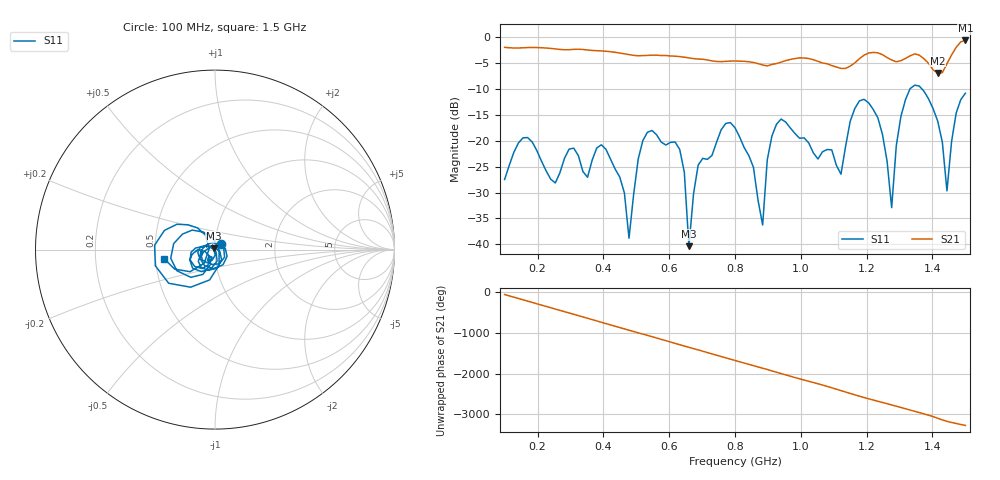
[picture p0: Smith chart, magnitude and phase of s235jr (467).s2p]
! NanoVNA-App
! Date: 2025-09-25 15:07:47
! Start: 100MHz Stop: 1,5GHz Points: 101
! S-Parameter data: F S11 S21 S12 S22
# Hz S RI R 50
!  Frequency  S11_Real  S11_Imag  S21_Real  S21_Imag  S12_Real  S12_Imag  S22_Real  S22_Imag
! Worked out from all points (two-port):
!   101 points, 100 MHz to 1.5 GHz, reference 50 ohm
!   highest |S21| = -0.63 dB at 1.5 GHz (marker M1); lowest = -6.9 dB at 1.416 GHz (marker M2)
!   |S21| within 3 dB of the highest: start of sweep to 606.4 MHz; 1.189 GHz to 1.254 GHz (65.53 MHz wide, 5.36 % of centre) (the widest 2 of 4)
!   lowest |S11| = -40.3 dB at 660 MHz (marker M3), VSWR 1.02, Z = 49.3 + j0.621 ohm
!   |S11| at or under -10 dB: start of sweep to 1.331 GHz; 1.368 GHz to end of sweep
!   S12 and S22 are empty: the file has one direction only
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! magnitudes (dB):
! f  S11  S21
! 100 MHz  -27.5  -2.0
! 156 MHz  -19.4  -2.0
! 338 MHz  -25.9  -2.4
! 408 MHz  -21.7  -2.7
! 478 MHz  -38.8  -3.4
! 520 MHz  -20.0  -3.5
! 576 MHz  -20.3  -3.5
! 632 MHz  -21.7  -3.7
! 660 MHz  -40.3  -4.0
! 688 MHz  -24.7  -4.2
! 800 MHz  -17.5  -4.6
! 884 MHz  -36.3  -5.4
! 926 MHz  -16.8  -5.1
! 1.038 GHz  -22.3  -4.3
! 1.122 GHz  -26.5  -6.0
! 1.192 GHz  -12.0  -3.5
! 1.248 GHz  -18.8  -3.4
! 1.276 GHz  -32.9  -4.4
! 1.332 GHz  -9.9  -3.6
! 1.416 GHz  -16.2  -6.9
! 1.444 GHz  -29.7  -5.1
! 1.5 GHz  -10.8  -0.6
